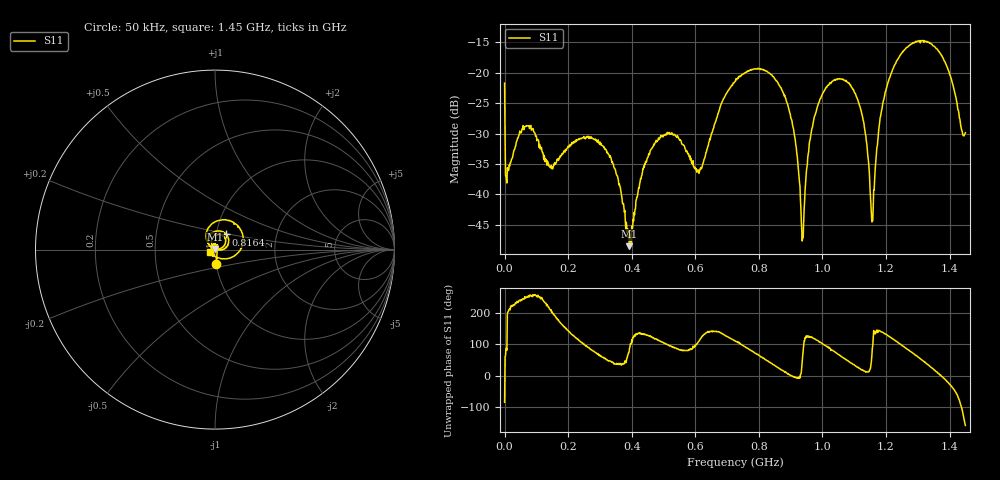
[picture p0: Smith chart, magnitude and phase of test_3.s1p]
! Created with skrf 1.11.0 (http://scikit-rf.org).
# Hz S RI R 50.0
!freq ReS11 ImS11
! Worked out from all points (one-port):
!   1001 points, 50 kHz to 1.45 GHz, reference 50 ohm
!   lowest |S11| = -48.5 dB at 393 MHz (marker M1), VSWR 1.01, Z = 50 + j0.373 ohm
!   |S11| at or under -10 dB: start of sweep to end of sweep
!   S11 on the Smith chart (normalised r, x): 50 kHz: 1.00, -0.16; 816.4 MHz: 1.12, +0.19; 1.45 GHz: 0.94, -0.02
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50000  0.00694 -0.0819
1.019965e7  -0.015 -0.00605
6.96476e7  -0.0129 -0.0341
1.45045e8  -0.0149 -0.00749
1.812938e8  -0.0205 0.00704
2.798904e8  0.0064 0.0279
3.277387e8  0.0146 0.0153
3.625375e8  0.00948 0.00677
3.929864e8  0.00024 0.00373
4.596842e8  -0.013 0.019
5.437812e8  0.00277 0.0303
6.133788e8  -0.00591 0.0143
7.25025e8  -0.0295 0.0796
8.163718e8  0.0626 0.0844
8.7002e8  0.0716 0.0232
9.062688e8  0.0368 -0.00121
9.381676e8  0.00208 0.00422
9.613668e8  -0.0154 0.0236
9.889159e8  -0.0175 0.0543
1.036764e9  0.0199 0.0846
1.087512e9  0.0593 0.0522
1.129561e9  0.0382 0.0108
1.15711e9  0.000481 0.00592
1.177409e9  -0.0272 0.0209
1.196259e9  -0.0448 0.0481
1.268756e9  0.0218 0.1617
1.371703e9  0.1434 0.00476
1.45e9  -0.0299 -0.0116
